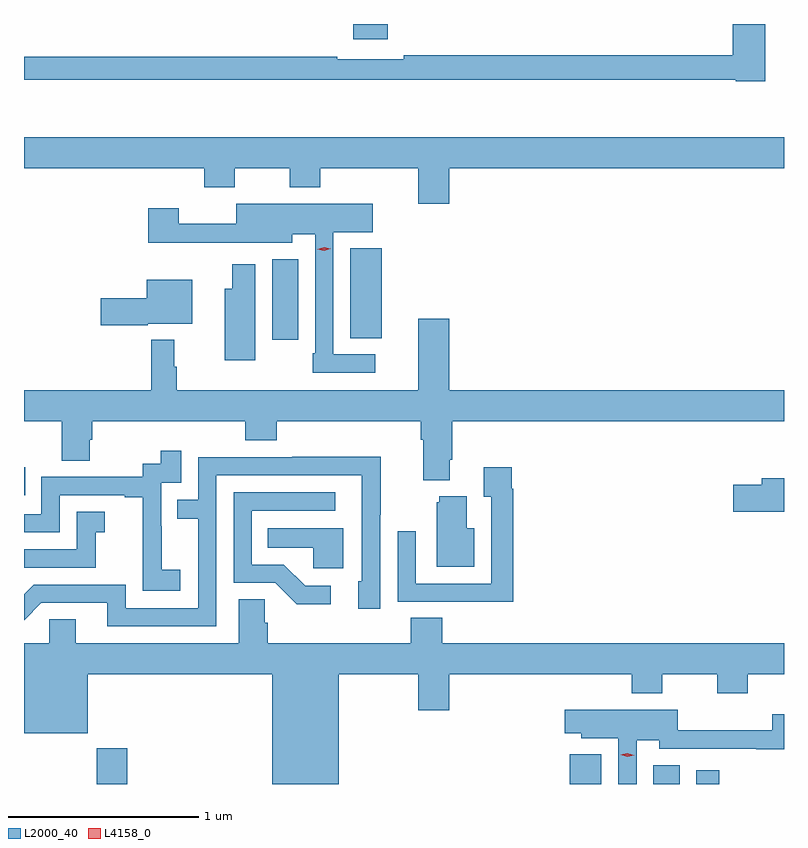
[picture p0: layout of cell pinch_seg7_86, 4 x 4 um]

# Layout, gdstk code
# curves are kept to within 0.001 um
import gdstk
lib = gdstk.Library(unit=1e-6, precision=1e-09)
def R(c, l, rs):  # rectangles x0, y0, x1, y1
    for r in rs: c.add(gdstk.rectangle(r[:2], r[2:], *l))
def P(c, l, *ps):  # polygons
    for p in ps: c.add(gdstk.Polygon(p, *l))
L2000_40 = (2000, 40)
L4158_0 = (4158, 0)

pinch_seg7_86 = lib.new_cell('pinch_seg7_86')
R(pinch_seg7_86, L2000_40, [(882.598,1021.351,882.758,1021.54), (885.086,1021.351,885.253,1021.507), (885.527,1021.351,885.664,1021.451), (885.752,1021.351,885.874,1021.423), (882.214,1022.871,882.221,1023.019), (883.52,1023.69,883.657,1024.114), (883.931,1023.697,884.098,1024.171), (883.946,1025.271,884.129,1025.351)])
P(pinch_seg7_86, L2000_40, [(886.114,1025.351),(885.944,1025.351),(885.944,1025.186),(884.212,1025.186),(884.212,1025.166),(883.862,1025.166),(883.862,1025.179),(882.214,1025.179),(882.214,1025.058),(885.96,1025.058),(885.96,1025.05),(886.114,1025.05)],
  [(884.452,1024.592),(886.214,1024.592),(886.214,1024.756),(882.214,1024.756),(882.214,1024.592),(883.163,1024.592),(883.163,1024.493),(883.323,1024.493),(883.323,1024.592),(883.612,1024.592),(883.612,1024.493),(883.772,1024.493),(883.772,1024.592),(884.288,1024.592),(884.288,1024.404),(884.452,1024.404)],
  [(884.062,1023.612),(883.842,1023.612),(883.842,1024.256),(884.05,1024.256),(884.05,1024.405),(883.331,1024.405),(883.331,1024.301),(883.029,1024.301),(883.029,1024.381),(882.869,1024.381),(882.869,1024.199),(883.235,1024.199),(883.235,1024.2),(883.627,1024.2),(883.627,1024.244),(883.746,1024.244),(883.746,1023.619),(883.734,1023.619),(883.734,1023.516),(884.062,1023.516)],
  [(883.432,1024.087),(883.31,1024.087),(883.31,1023.958),(883.271,1023.958),(883.271,1023.581),(883.432,1023.581)],
  [(882.864,1023.773),(883.099,1023.773),(883.099,1024.006),(882.86,1024.006),(882.86,1023.908),(882.618,1023.908),(882.618,1023.766),(882.864,1023.766)],
  [(883.019,1023.548),(883.004,1023.548),(883.004,1023.688),(882.884,1023.688),(882.884,1023.424),(882.214,1023.424),(882.214,1023.26),(882.412,1023.26),(882.412,1023.052),(882.559,1023.052),(882.559,1023.162),(882.572,1023.162),(882.572,1023.26),(883.379,1023.26),(883.379,1023.161),(883.544,1023.161),(883.544,1023.26),(884.303,1023.26),(884.303,1023.164),(884.315,1023.164),(884.315,1022.951),(884.455,1022.951),(884.455,1023.058),(884.468,1023.058),(884.468,1023.26),(886.214,1023.26),(886.214,1023.424),(884.452,1023.424),(884.452,1023.799),(884.288,1023.799),(884.288,1023.424),(883.019,1023.424)],
  [(883.036,1022.479),(882.938,1022.479),(882.938,1022.708),(882.936,1022.708),(882.936,1022.937),(883.041,1022.937),(883.041,1023.106),(882.933,1023.106),(882.933,1023.036),(882.84,1023.036),(882.84,1022.967),(882.306,1022.967),(882.306,1022.772),(882.214,1022.772),(882.214,1022.676),(882.402,1022.676),(882.402,1022.871),(882.743,1022.871),(882.743,1022.859),(882.839,1022.859),(882.839,1022.575),(882.838,1022.575),(882.838,1022.369),(883.036,1022.369)],
  [(883.227,1022.976),(883.991,1022.976),(883.992,1022.418),(883.973,1022.418),(883.973,1022.274),(884.088,1022.274),(884.088,1022.767),(884.091,1022.767),(884.091,1023.074),(883.627,1023.074),(883.627,1023.072),(883.131,1023.072),(883.131,1022.847),(883.021,1022.847),(883.021,1022.746),(883.131,1022.746),(883.131,1022.277),(882.75,1022.277),(882.75,1022.4),(882.264,1022.4),(882.214,1022.35),(882.214,1022.212),(882.306,1022.304),(882.653,1022.304),(882.653,1022.181),(883.227,1022.181)],
  [(884.789,1022.906),(884.782,1022.906),(884.782,1023.019),(884.633,1023.019),(884.633,1022.863),(884.673,1022.863),(884.673,1022.406),(884.277,1022.406),(884.277,1022.68),(884.181,1022.68),(884.181,1022.31),(884.497,1022.31),(884.497,1022.309),(884.789,1022.309)],
  [(886.214,1022.959),(886.097,1022.959),(886.097,1022.925),(885.948,1022.925),(885.948,1022.783),(886.214,1022.783)],
  [(883.828,1022.394),(883.693,1022.394),(883.582,1022.505),(883.413,1022.505),(883.413,1022.79),(883.852,1022.79),(883.852,1022.886),(883.317,1022.886),(883.317,1022.409),(883.536,1022.409),(883.649,1022.297),(883.828,1022.297)],
  [(884.584,1022.698),(884.545,1022.698),(884.545,1022.866),(884.399,1022.866),(884.399,1022.835),(884.387,1022.835),(884.387,1022.495),(884.584,1022.495)],
  [(882.591,1022.675),(882.64,1022.675),(882.64,1022.785),(882.492,1022.785),(882.492,1022.586),(882.214,1022.586),(882.214,1022.49),(882.591,1022.49)],
  [(883.894,1022.698),(883.498,1022.698),(883.498,1022.594),(883.737,1022.594),(883.737,1022.486),(883.894,1022.486)],
  [(883.87,1021.928),(884.288,1021.928),(884.288,1021.74),(884.452,1021.74),(884.452,1021.928),(885.413,1021.928),(885.413,1021.829),(885.573,1021.829),(885.573,1021.928),(885.862,1021.928),(885.862,1021.829),(886.022,1021.829),(886.022,1021.928),(886.214,1021.928),(886.214,1022.092),(884.414,1022.092),(884.414,1022.225),(884.249,1022.225),(884.249,1022.092),(883.496,1022.092),(883.496,1022.201),(883.482,1022.201),(883.482,1022.324),(883.343,1022.324),(883.343,1022.092),(882.487,1022.092),(882.487,1022.219),(882.348,1022.219),(882.348,1022.092),(882.214,1022.092),(882.214,1021.619),(882.55,1021.619),(882.55,1021.928),(883.52,1021.928),(883.52,1021.351),(883.87,1021.351)],
  [(885.438,1021.58),(885.558,1021.58),(885.558,1021.536),(886.067,1021.536),(886.067,1021.535),(886.214,1021.535),(886.214,1021.717),(886.151,1021.717),(886.151,1021.634),(885.654,1021.634),(885.654,1021.741),(885.06,1021.741),(885.06,1021.619),(885.147,1021.619),(885.147,1021.592),(885.342,1021.592),(885.342,1021.351),(885.438,1021.351)])
P(pinch_seg7_86, L4158_0, [(883.793,1024.157),(883.758,1024.166),(883.758,1024.166),(883.758,1024.166),(883.793,1024.177),(883.827,1024.168),(883.828,1024.168),(883.827,1024.167)],
  [(885.39,1021.494),(885.356,1021.504),(885.355,1021.504),(885.356,1021.505),(885.39,1021.514),(885.425,1021.503),(885.425,1021.503),(885.425,1021.503)])

lib.write_gds('pinch_seg7_86.gds')
